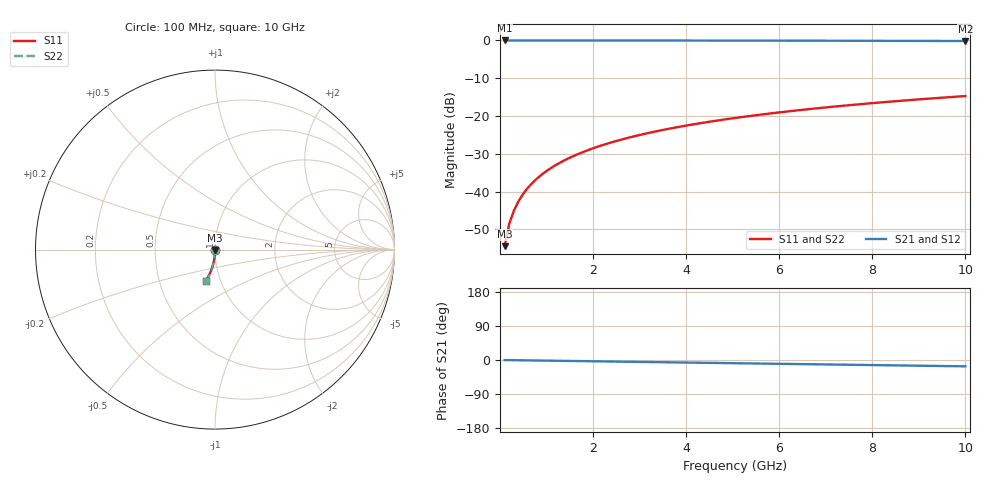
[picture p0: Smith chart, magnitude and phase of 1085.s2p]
# Hz S RI R 50.00
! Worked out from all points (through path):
!   100 points, 100 MHz to 10 GHz, reference 50 ohm
!   highest |S21| = 0.00 dB at 100 MHz (marker M1); lowest = -0.2 dB at 10 GHz (marker M2)
!   group delay of S21, straight-line fit = 4.64 ps
!   lowest |S11| = -54.4 dB at 100 MHz (marker M3), VSWR 1.00, Z = 50 - j0.188 ohm
!   |S11| at or under -10 dB: start of sweep to end of sweep
!   |S22| runs from -54.4 to -14.7 dB; largest |S21 - S12| = 0
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1e8  0.000318 -0.00188  0.9997 -0.00293  0.9997 -0.00293  0.000318 -0.00188
2e8  0.000301 -0.00375  0.9996 -0.00586  0.9996 -0.00586  0.000301 -0.00375
3e8  0.000273 -0.00563  0.9996 -0.00879  0.9996 -0.00879  0.000273 -0.00563
4e8  0.000234 -0.0075  0.9996 -0.0117  0.9996 -0.0117  0.000234 -0.0075
5e8  0.000183 -0.00937  0.9995 -0.0146  0.9995 -0.0146  0.000183 -0.00937
6e8  0.000121 -0.0112  0.9994 -0.0176  0.9994 -0.0176  0.000121 -0.0112
7e8  4.85e-05 -0.0131  0.9994 -0.0205  0.9994 -0.0205  4.85e-05 -0.0131
8e8  -3.53e-05 -0.015  0.9993 -0.0234  0.9993 -0.0234  -3.53e-05 -0.015
9e8  -0.00013 -0.0169  0.9992 -0.0264  0.9992 -0.0264  -0.00013 -0.0169
1.1e9  -0.000353 -0.0206  0.9989 -0.0322  0.9989 -0.0322  -0.000353 -0.0206
1.4e9  -0.00077 -0.0262  0.9984 -0.041  0.9984 -0.041  -0.00077 -0.0262
1.8e9  -0.00148 -0.0337  0.9977 -0.0527  0.9977 -0.0527  -0.00148 -0.0337
2.1e9  -0.00213 -0.0393  0.9969 -0.0614  0.9969 -0.0614  -0.00213 -0.0393
2.5e9  -0.00314 -0.0467  0.9958 -0.0731  0.9958 -0.0731  -0.00314 -0.0467
2.9e9  -0.00433 -0.0541  0.9945 -0.0847  0.9945 -0.0847  -0.00433 -0.0541
3.4e9  -0.00606 -0.0633  0.9926 -0.0992  0.9926 -0.0992  -0.00606 -0.0633
4.2e9  -0.00938 -0.0779  0.9889 -0.1223  0.9889 -0.1223  -0.00938 -0.0779
5.1e9  -0.0139 -0.0942  0.9839 -0.1481  0.9839 -0.1481  -0.0139 -0.0942
5.9e9  -0.0187 -0.1083  0.9787 -0.1707  0.9787 -0.1707  -0.0187 -0.1083
6.7e9  -0.0241 -0.1222  0.9727 -0.1931  0.9727 -0.1931  -0.0241 -0.1222
8.4e9  -0.0376 -0.1508  0.9577 -0.2398  0.9577 -0.2398  -0.0376 -0.1508
1e10  -0.0527 -0.1761  0.9409 -0.2823  0.9409 -0.2823  -0.0527 -0.1761
